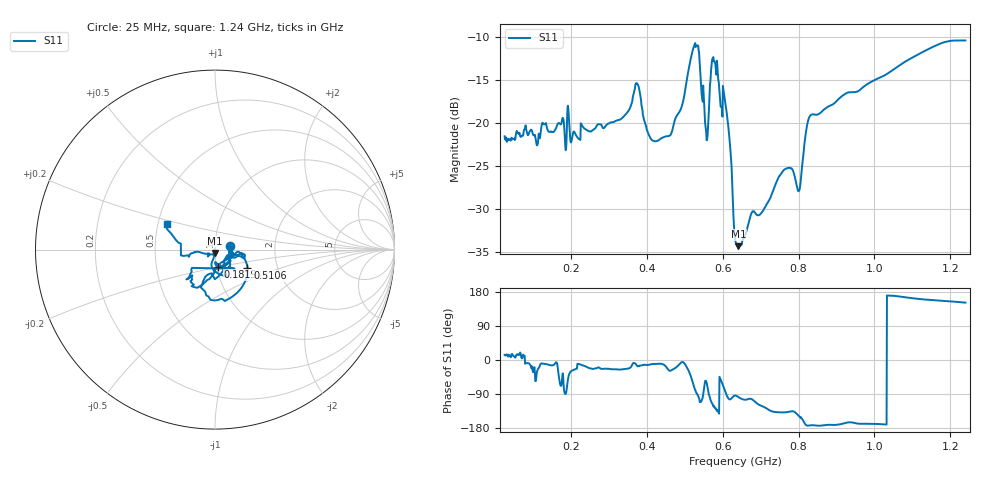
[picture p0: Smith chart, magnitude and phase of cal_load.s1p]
!Created with skrf (http://scikit-rf.org).
# Hz S RI R 50.0
!freq ReS11 ImS11
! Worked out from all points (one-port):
!   1217 points, 25 MHz to 1.24 GHz, reference 50 ohm
!   lowest |S11| = -34.3 dB at 641.5 MHz (marker M1), VSWR 1.04, Z = 49.7 - j1.91 ohm
!   |S11| at or under -10 dB: start of sweep to end of sweep
!   S11 on the Smith chart (normalised r, x): 25 MHz: 1.18, +0.05; 181.9 MHz: 1.01, -0.20; 510.6 MHz: 1.40, -0.30; 1.24 GHz: 0.56, +0.18
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2.5e7  0.0817 0.0195
1.1193e8  0.0679 -0.0332
1.2792e8  0.0975 -0.0166
1.7688e8  0.0718 -0.0776
1.8187e8  0.0161 -0.0958
3.2975e8  0.0951 -0.0449
3.7372e8  0.1651 -0.0429
4.1568e8  0.0779 -0.0144
4.5964e8  0.0744 -0.04
4.8063e8  0.1073 -0.0318
5.106e8  0.1808 -0.1009
5.3258e8  0.00355 -0.2828
5.4158e8  -0.0674 -0.1785
5.5756e8  0.0404 -0.0687
5.7155e8  -0.091 -0.2082
5.8155e8  -0.1265 -0.1666
5.9753e8  0.0645 -0.1056
6.1252e8  -0.0137 -0.1054
6.3251e8  -0.0014 -0.0215
6.415e8  -0.00263 -0.0192
7.5441e8  -0.0381 -0.034
7.8538e8  -0.0378 -0.0372
8.0137e8  -0.0345 -0.0214
8.2136e8  -0.0935 -0.0123
8.3135e8  -0.1099 -0.0148
9.3626e8  -0.1456 -0.0405
1.08814e9  -0.2237 0.0617
1.24001e9  -0.265 0.1448
